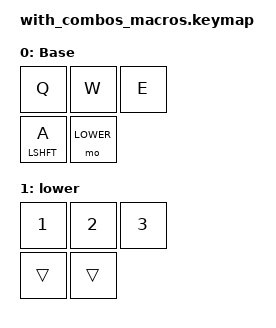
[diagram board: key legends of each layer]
// Keymap exercising layers + combos + macros + a user-defined hold-tap.
#include <dt-bindings/zmk/keys.h>
#include <behaviors.dtsi>

#define DEFAULT 0
#define LOWER 1

/ {
    behaviors {
        ht: ht {
            compatible = "zmk,behavior-hold-tap";
            #binding-cells = <2>;
            tapping-term-ms = <200>;
            bindings = <&mo>, <&kp>;
        };
    };

    macros {
        my_macro: my_macro {
            compatible = "zmk,behavior-macro";
            #binding-cells = <0>;
            bindings = <&macro_tap &kp H &kp I>;
        };
    };

    combos {
        compatible = "zmk,combos";
        combo_esc {
            timeout-ms = <50>;
            key-positions = <10 11>;
            bindings = <&kp ESC>;
        };
    };

    keymap {
        compatible = "zmk,keymap";

        default_layer {
            display-name = "Base";
            bindings = <
                &kp Q     &kp W     &kp E
                &ht LSHFT A   &mo LOWER
            >;
        };

        lower_layer {
            display-name = "lower";
            bindings = <
                &kp N1    &kp N2    &kp N3
                &trans    &trans
            >;
        };
    };
};
